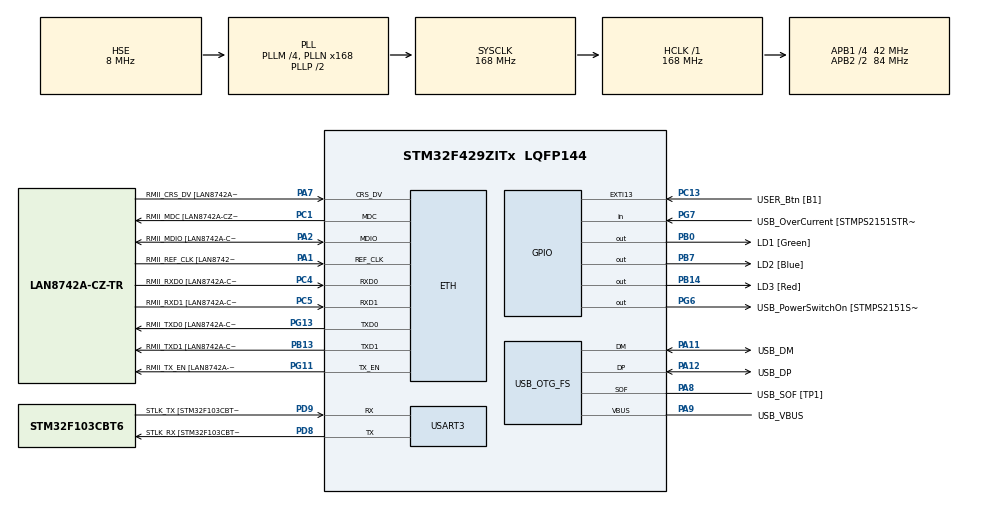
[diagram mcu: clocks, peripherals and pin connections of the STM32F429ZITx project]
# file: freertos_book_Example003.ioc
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ETH.MediaInterface=HAL_ETH_RMII_MODE
ETH.PHY_Name=LAN8742A_PHY_ADDRESS
ETH.PHY_Value=0
ETH.PhyAddress=0
FREERTOS.MEMORY_ALLOCATION=0
FREERTOS.Tasks01=defaultTask,0,128,StartDefaultTask,Default,NULL,Dynamic,NULL,NULL
FREERTOS.configTICK_RATE_HZ=100
FREERTOS.configUSE_NEWLIB_REENTRANT=1
Mcu.Family=STM32F4
Mcu.Name=STM32F429ZITx
Mcu.Package=LQFP144
NVIC.PriorityGroup=NVIC_PRIORITYGROUP_4
NVIC.TIM7_IRQn=true\:15\:0\:false\:false\:true\:false\:false\:true\:true
NVIC.TimeBase=TIM7_IRQn
NVIC.TimeBaseIP=TIM7
PA1.GPIO_Label=RMII_REF_CLK [LAN8742A-CZ-TR_REFCLK0]
PA1.Mode=RMII
PA1.Signal=ETH_REF_CLK
PA10.GPIO_Label=USB_ID
PA10.Signal=USB_OTG_FS_ID
PA11.GPIO_Label=USB_DM
PA11.Mode=Device_Only
PA11.Signal=USB_OTG_FS_DM
PA12.GPIO_Label=USB_DP
PA12.Mode=Device_Only
PA12.Signal=USB_OTG_FS_DP
PA13.GPIO_Label=TMS
PA13.Mode=Serial_Wire
PA13.Signal=SYS_JTMS-SWDIO
PA14.GPIO_Label=TCK
PA14.Mode=Serial_Wire
PA14.Signal=SYS_JTCK-SWCLK
PA2.GPIO_Label=RMII_MDIO [LAN8742A-CZ-TR_MDIO]
PA2.Mode=RMII
PA2.Signal=ETH_MDIO
PA7.GPIO_Label=RMII_CRS_DV [LAN8742A-CZ-TR_CRS_DV]
PA7.Mode=RMII
PA7.Signal=ETH_CRS_DV
PA8.GPIO_Label=USB_SOF [TP1]
PA8.Mode=Activate_SOF_FS
PA8.Signal=USB_OTG_FS_SOF
PA9.GPIO_Label=USB_VBUS
PA9.Mode=Activate_VBUS
PA9.Signal=USB_OTG_FS_VBUS
PB0.GPIO_Label=LD1 [Green]
PB0.Signal=GPIO_Output
PB13.GPIO_Label=RMII_TXD1 [LAN8742A-CZ-TR_TXD1]
PB13.Mode=RMII
PB13.Signal=ETH_TXD1
PB14.GPIO_Label=LD3 [Red]
PB14.Signal=GPIO_Output
PB7.GPIO_Label=LD2 [Blue]
PB7.Signal=GPIO_Output
PC1.GPIO_Label=RMII_MDC [LAN8742A-CZ-TR_MDC]
PC1.Mode=RMII
PC1.Signal=ETH_MDC
PC13.GPIO_Label=USER_Btn [B1]
PC13.Signal=GPXTI13
PC14/OSC32_IN.Mode=LSE-External-Oscillator
PC14/OSC32_IN.Signal=RCC_OSC32_IN
PC15/OSC32_OUT.Mode=LSE-External-Oscillator
PC15/OSC32_OUT.Signal=RCC_OSC32_OUT
PC4.GPIO_Label=RMII_RXD0 [LAN8742A-CZ-TR_RXD0]
PC4.Mode=RMII
PC4.Signal=ETH_RXD0
PC5.GPIO_Label=RMII_RXD1 [LAN8742A-CZ-TR_RXD1]
PC5.Mode=RMII
PC5.Signal=ETH_RXD1
PD8.GPIO_Label=STLK_RX [STM32F103CBT6_PA3]
PD8.Mode=Asynchronous
PD8.Signal=USART3_TX
PD9.GPIO_Label=STLK_TX [STM32F103CBT6_PA2]
PD9.Mode=Asynchronous
PD9.Signal=USART3_RX
PG11.GPIO_Label=RMII_TX_EN [LAN8742A-CZ-TR_TXEN]
PG11.Mode=RMII
PG11.Signal=ETH_TX_EN
PG13.GPIO_Label=RMII_TXD0 [LAN8742A-CZ-TR_TXD0]
PG13.Mode=RMII
PG13.Signal=ETH_TXD0
PG6.GPIO_Label=USB_PowerSwitchOn [STMPS2151STR_EN]
PG6.Signal=GPIO_Output
PG7.GPIO_Label=USB_OverCurrent [STMPS2151STR_FAULT]
PG7.Signal=GPIO_Input
PH0/OSC_IN.GPIO_Label=MCO [STM32F103CBT6_PA8]
PH0/OSC_IN.Mode=HSE-External-Clock-Source
PH0/OSC_IN.Signal=RCC_OSC_IN
PH1/OSC_OUT.Mode=HSE-External-Clock-Source
PH1/OSC_OUT.Signal=RCC_OSC_OUT
ProjectManager.HeapSize=0x200
ProjectManager.StackSize=0x400
ProjectManager.TargetToolchain=STM32CubeIDE
RCC.48MHZClocksFreq_Value=48000000
RCC.AHBFreq_Value=168000000
RCC.APB1CLKDivider=RCC_HCLK_DIV4
RCC.APB1Freq_Value=42000000
RCC.APB1TimFreq_Value=84000000
RCC.APB2CLKDivider=RCC_HCLK_DIV2
RCC.APB2Freq_Value=84000000
RCC.APB2TimCLKDivider=2
RCC.APB2TimFreq_Value=168000000
RCC.CortexFreq_Value=168000000
RCC.HCLKFreq_Value=168000000
RCC.HSE_VALUE=8000000
RCC.HSI_VALUE=16000000
RCC.PLLM=4
RCC.PLLMUL=RCC_PLL_MUL9
RCC.PLLN=168
RCC.PLLQ=7
RCC.PRESCALERUSB=RCC_USBCLKSOURCE_PLL_DIV1_5
RCC.SYSCLKFreq_VALUE=168000000
RCC.SYSCLKSource=RCC_SYSCLKSOURCE_PLLCLK
RCC.SYSCLKSourceVirtual=RCC_SYSCLKSOURCE_PLLCLK
RCC.USBFreq_Value=48000000
RCC.VCOOutputFreq_Value=336000000
USART3.VirtualMode=VM_ASYNC
USB_OTG_FS.VirtualMode=Device_Only
VP_FREERTOS_VS_CMSIS_V1.Mode=CMSIS_V1
VP_SYS_VS_tim7.Mode=TIM7
board=NUCLEO-F429ZI

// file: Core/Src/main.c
/* USER CODE BEGIN Header */
/**
  ******************************************************************************
  * @file           : main.c
  * @brief          : Main program body
  ******************************************************************************
  * @attention
  *
  * Copyright (c) 2022 STMicroelectronics.
  * All rights reserved.
  *
  * This software is licensed under terms that can be found in the LICENSE file
  * in the root directory of this software component.
  * If no LICENSE file comes with this software, it is provided AS-IS.
  *
  ******************************************************************************
  */
/* USER CODE END Header */
#include "main.h"
#include "string.h"
#include "cmsis_os.h"

/* USER CODE BEGIN Includes */
/* Standard includes. */
#include <stdio.h>
#include <stdlib.h>

/* Demo includes. */
#include "supportingFunctions.h"

/* USER CODE END Includes */

/* USER CODE BEGIN PD */
/* Used as a loop counter to create a very crude delay. */
#define mainDELAY_LOOP_COUNT		( 0xffffff )

/* USER CODE END PD */

/* USER CODE BEGIN PM */
/* Define the strings that will be passed in as the task parameters.  These are
defined const and off the stack to ensure they remain valid when the tasks are
executing. */
const char *pcTextForTask1 = "Task 1 is running\r\n";
const char *pcTextForTask2 = "Task 2 is running\r\n";

/* USER CODE END PM */

ETH_TxPacketConfig TxConfig;
ETH_DMADescTypeDef  DMARxDscrTab[ETH_RX_DESC_CNT]; /* Ethernet Rx DMA Descriptors */
ETH_DMADescTypeDef  DMATxDscrTab[ETH_TX_DESC_CNT]; /* Ethernet Tx DMA Descriptors */

ETH_HandleTypeDef heth;

UART_HandleTypeDef huart3;

PCD_HandleTypeDef hpcd_USB_OTG_FS;

osThreadId defaultTaskHandle;

void SystemClock_Config(void);
static void MX_GPIO_Init(void);
static void MX_ETH_Init(void);
static void MX_USART3_UART_Init(void);
static void MX_USB_OTG_FS_PCD_Init(void);
void StartDefaultTask(void const * argument);

/* USER CODE BEGIN PFP */
void vTaskFunction( void *pvParameters );

/* USER CODE END PFP */

/* USER CODE BEGIN 0 */
extern void initialise_monitor_handles(void);
/* USER CODE END 0 */

int main(void)
{

  /* USER CODE BEGIN 1 */
	initialise_monitor_handles();
	const char *pcTextForMain = "freertos_book_Example003 is running: Experimenting with priorities\r\n\n";

  /* USER CODE END 1 */

  /* MCU Configuration--------------------------------------------------------*/

  /* Reset of all peripherals, Initializes the Flash interface and the Systick. */
  HAL_Init();

  /* Configure the system clock */
  SystemClock_Config();

  /* Initialize all configured peripherals */
  MX_GPIO_Init();
  MX_ETH_Init();
  MX_USART3_UART_Init();
  MX_USB_OTG_FS_PCD_Init();
  /* USER CODE BEGIN 2 */
	/* Print out the name of this Example. */
	vPrintString( pcTextForMain );

  /* USER CODE END 2 */

  /* Create the thread(s) */
  /* definition and creation of defaultTask */
  osThreadDef(defaultTask, StartDefaultTask, osPriorityNormal, 0, 128);
  defaultTaskHandle = osThreadCreate(osThread(defaultTask), NULL);

  /* USER CODE BEGIN RTOS_THREADS */
  /* add threads, ... */
	BaseType_t ret;

	/* Task 1 thread at priority 1 */
	ret = xTaskCreate( vTaskFunction,				/* Pointer to the function thats implement the task. */
					   "Task 1",					/* Text name for the task. This is to facilitate debugging only. */
					   (2 * configMINIMAL_STACK_SIZE),	/* Stack depth in words. 				*/
	                   (void*)pcTextForTask1,    	/* Pass the text to be printed in as the task parameter. */
					   (tskIDLE_PRIORITY + 1UL),	/* This task will run at priority 1. 		*/
		               NULL );                   	/* We are not using the task handle. */

	/* Check the task was created successfully. */
	configASSERT( ret == pdPASS );

	/* Task 2 thread at priority 2 */
	ret = xTaskCreate( vTaskFunction,				/* Pointer to the function thats implement the task. */
		  	  	  	   "Task 2",					/* Text name for the task. This is to facilitate debugging only. */
					   (2 * configMINIMAL_STACK_SIZE),	/* Stack depth in words. 				*/
	                   (void*)pcTextForTask2,    	/* Pass the text to be printed in as the task parameter. */
					   (tskIDLE_PRIORITY + 2UL),	/* This task will run at priority 2. 		*/
		               NULL );                   	/* We are not using the task handle. */

	/* Check the task was created successfully. */
	configASSERT( ret == pdPASS );

  /* USER CODE END RTOS_THREADS */

  /* Start scheduler */
  osKernelStart();

  /* We should never get here as control is now taken by the scheduler */

  /* Infinite loop */
  while (1)
  {

  }
}

void SystemClock_Config(void)
{
  RCC_OscInitTypeDef RCC_OscInitStruct = {0};
  RCC_ClkInitTypeDef RCC_ClkInitStruct = {0};

  /** Configure the main internal regulator output voltage
  */
  __HAL_RCC_PWR_CLK_ENABLE();
  __HAL_PWR_VOLTAGESCALING_CONFIG(PWR_REGULATOR_VOLTAGE_SCALE1);

  /** Initializes the RCC Oscillators according to the specified parameters
  * in the RCC_OscInitTypeDef structure.
  */
  RCC_OscInitStruct.OscillatorType = RCC_OSCILLATORTYPE_HSE;
  RCC_OscInitStruct.HSEState = RCC_HSE_BYPASS;
  RCC_OscInitStruct.PLL.PLLState = RCC_PLL_ON;
  RCC_OscInitStruct.PLL.PLLSource = RCC_PLLSOURCE_HSE;
  RCC_OscInitStruct.PLL.PLLM = 4;
  RCC_OscInitStruct.PLL.PLLN = 168;
  RCC_OscInitStruct.PLL.PLLP = RCC_PLLP_DIV2;
  RCC_OscInitStruct.PLL.PLLQ = 7;
  if (HAL_RCC_OscConfig(&RCC_OscInitStruct) != HAL_OK)
  {
    Error_Handler();
  }

  /** Initializes the CPU, AHB and APB buses clocks
  */
  RCC_ClkInitStruct.ClockType = RCC_CLOCKTYPE_HCLK|RCC_CLOCKTYPE_SYSCLK
                              |RCC_CLOCKTYPE_PCLK1|RCC_CLOCKTYPE_PCLK2;
  RCC_ClkInitStruct.SYSCLKSource = RCC_SYSCLKSOURCE_PLLCLK;
  RCC_ClkInitStruct.AHBCLKDivider = RCC_SYSCLK_DIV1;
  RCC_ClkInitStruct.APB1CLKDivider = RCC_HCLK_DIV4;
  RCC_ClkInitStruct.APB2CLKDivider = RCC_HCLK_DIV2;

  if (HAL_RCC_ClockConfig(&RCC_ClkInitStruct, FLASH_LATENCY_5) != HAL_OK)
  {
    Error_Handler();
  }
}

static void MX_ETH_Init(void)
{

   static uint8_t MACAddr[6];

  heth.Instance = ETH;
  MACAddr[0] = 0x00;
  MACAddr[1] = 0x80;
  MACAddr[2] = 0xE1;
  MACAddr[3] = 0x00;
  MACAddr[4] = 0x00;
  MACAddr[5] = 0x00;
  heth.Init.MACAddr = &MACAddr[0];
  heth.Init.MediaInterface = HAL_ETH_RMII_MODE;
  heth.Init.TxDesc = DMATxDscrTab;
  heth.Init.RxDesc = DMARxDscrTab;
  heth.Init.RxBuffLen = 1524;

  if (HAL_ETH_Init(&heth) != HAL_OK)
  {
    Error_Handler();
  }

  memset(&TxConfig, 0 , sizeof(ETH_TxPacketConfig));
  TxConfig.Attributes = ETH_TX_PACKETS_FEATURES_CSUM | ETH_TX_PACKETS_FEATURES_CRCPAD;
  TxConfig.ChecksumCtrl = ETH_CHECKSUM_IPHDR_PAYLOAD_INSERT_PHDR_CALC;
  TxConfig.CRCPadCtrl = ETH_CRC_PAD_INSERT;

}

static void MX_USART3_UART_Init(void)
{

  huart3.Instance = USART3;
  huart3.Init.BaudRate = 115200;
  huart3.Init.WordLength = UART_WORDLENGTH_8B;
  huart3.Init.StopBits = UART_STOPBITS_1;
  huart3.Init.Parity = UART_PARITY_NONE;
  huart3.Init.Mode = UART_MODE_TX_RX;
  huart3.Init.HwFlowCtl = UART_HWCONTROL_NONE;
  huart3.Init.OverSampling = UART_OVERSAMPLING_16;
  if (HAL_UART_Init(&huart3) != HAL_OK)
  {
    Error_Handler();
  }

}

static void MX_USB_OTG_FS_PCD_Init(void)
{

  hpcd_USB_OTG_FS.Instance = USB_OTG_FS;
  hpcd_USB_OTG_FS.Init.dev_endpoints = 4;
  hpcd_USB_OTG_FS.Init.speed = PCD_SPEED_FULL;
  hpcd_USB_OTG_FS.Init.dma_enable = DISABLE;
  hpcd_USB_OTG_FS.Init.phy_itface = PCD_PHY_EMBEDDED;
  hpcd_USB_OTG_FS.Init.Sof_enable = ENABLE;
  hpcd_USB_OTG_FS.Init.low_power_enable = DISABLE;
  hpcd_USB_OTG_FS.Init.lpm_enable = DISABLE;
  hpcd_USB_OTG_FS.Init.vbus_sensing_enable = ENABLE;
  hpcd_USB_OTG_FS.Init.use_dedicated_ep1 = DISABLE;
  if (HAL_PCD_Init(&hpcd_USB_OTG_FS) != HAL_OK)
  {
    Error_Handler();
  }

}

static void MX_GPIO_Init(void)
{
  GPIO_InitTypeDef GPIO_InitStruct = {0};

  /* GPIO Ports Clock Enable */
  __HAL_RCC_GPIOC_CLK_ENABLE();
  __HAL_RCC_GPIOH_CLK_ENABLE();
  __HAL_RCC_GPIOA_CLK_ENABLE();
  __HAL_RCC_GPIOB_CLK_ENABLE();
  __HAL_RCC_GPIOD_CLK_ENABLE();
  __HAL_RCC_GPIOG_CLK_ENABLE();

  /*Configure GPIO pin Output Level */
  HAL_GPIO_WritePin(GPIOB, LD1_Pin|LD3_Pin|LD2_Pin, GPIO_PIN_RESET);

  /*Configure GPIO pin Output Level */
  HAL_GPIO_WritePin(USB_PowerSwitchOn_GPIO_Port, USB_PowerSwitchOn_Pin, GPIO_PIN_RESET);

  /*Configure GPIO pin : USER_Btn_Pin */
  GPIO_InitStruct.Pin = USER_Btn_Pin;
  GPIO_InitStruct.Mode = GPIO_MODE_IT_RISING;
  GPIO_InitStruct.Pull = GPIO_NOPULL;
  HAL_GPIO_Init(USER_Btn_GPIO_Port, &GPIO_InitStruct);

  /*Configure GPIO pins : LD1_Pin LD3_Pin LD2_Pin */
  GPIO_InitStruct.Pin = LD1_Pin|LD3_Pin|LD2_Pin;
  GPIO_InitStruct.Mode = GPIO_MODE_OUTPUT_PP;
  GPIO_InitStruct.Pull = GPIO_NOPULL;
  GPIO_InitStruct.Speed = GPIO_SPEED_FREQ_LOW;
  HAL_GPIO_Init(GPIOB, &GPIO_InitStruct);

  /*Configure GPIO pin : USB_PowerSwitchOn_Pin */
  GPIO_InitStruct.Pin = USB_PowerSwitchOn_Pin;
  GPIO_InitStruct.Mode = GPIO_MODE_OUTPUT_PP;
  GPIO_InitStruct.Pull = GPIO_NOPULL;
  GPIO_InitStruct.Speed = GPIO_SPEED_FREQ_LOW;
  HAL_GPIO_Init(USB_PowerSwitchOn_GPIO_Port, &GPIO_InitStruct);

  /*Configure GPIO pin : USB_OverCurrent_Pin */
  GPIO_InitStruct.Pin = USB_OverCurrent_Pin;
  GPIO_InitStruct.Mode = GPIO_MODE_INPUT;
  GPIO_InitStruct.Pull = GPIO_NOPULL;
  HAL_GPIO_Init(USB_OverCurrent_GPIO_Port, &GPIO_InitStruct);

}

/* USER CODE BEGIN 4 */

/* USER CODE BEGIN Header_vTaskFunction */
/**
  * @brief  Function implementing the Task1 thread.
  * @param  argument: Not used
  * @retval None
  */
/* USER CODE END Header_vTaskFunction */
void vTaskFunction( void *pvParameters )
{
	char *pcTaskName;
	volatile uint32_t ul;

	/* The string to print out is passed in via the parameter.  Cast this to a
	   character pointer. */
	pcTaskName = ( char * ) pvParameters;

	/* As per most tasks, this task is implemented in an infinite loop. */
	for( ;; )
	{
		/* Print out the name of this task. */
		vPrintString( pcTaskName );

		/* Delay for a period. */
		for( ul = 0; ul < mainDELAY_LOOP_COUNT; ul++ )
		{
			/* This loop is just a very crude delay implementation.  There is
	           nothing to do in here.  Later exercises will replace this crude
	           loop with a proper delay/sleep function. */
		}
	}
}

/* USER CODE END 4 */

void StartDefaultTask(void const * argument)
{
  /* USER CODE BEGIN 5 */
  /* Infinite loop */
  for(;;)
  {
    osDelay(50000);
  }
  /* USER CODE END 5 */
}

void HAL_TIM_PeriodElapsedCallback(TIM_HandleTypeDef *htim)
{
  if (htim->Instance == TIM7) {
    HAL_IncTick();
  }
}

void Error_Handler(void)
{
  __disable_irq();
  while (1)
  {
  }
}
